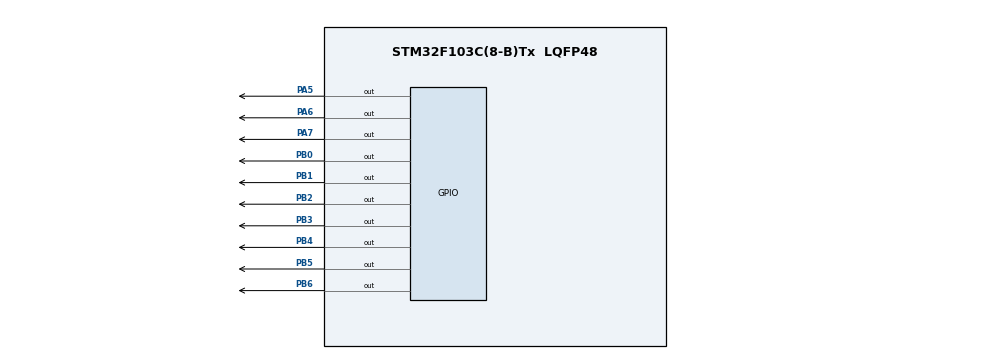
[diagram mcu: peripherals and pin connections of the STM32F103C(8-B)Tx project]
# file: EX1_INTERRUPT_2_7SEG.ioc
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Mcu.Family=STM32F1
Mcu.Name=STM32F103C(8-B)Tx
Mcu.Package=LQFP48
NVIC.PriorityGroup=NVIC_PRIORITYGROUP_4
NVIC.TIM2_IRQn=true\:0\:0\:false\:false\:true\:true\:true\:true
PA13.Mode=Serial_Wire
PA13.Signal=SYS_JTMS-SWDIO
PA14.Mode=Serial_Wire
PA14.Signal=SYS_JTCK-SWCLK
PA5.Signal=GPIO_Output
PA6.Signal=GPIO_Output
PA7.Signal=GPIO_Output
PB0.Signal=GPIO_Output
PB1.Signal=GPIO_Output
PB2.Signal=GPIO_Output
PB3.Signal=GPIO_Output
PB4.Signal=GPIO_Output
PB5.Signal=GPIO_Output
PB6.Signal=GPIO_Output
ProjectManager.HeapSize=0x200
ProjectManager.StackSize=0x400
ProjectManager.TargetToolchain=MDK-ARM V5.32
RCC.APB1Freq_Value=8000000
RCC.APB2Freq_Value=8000000
TIM2.Period=9
TIM2.Prescaler=7999
VP_TIM2_VS_ClockSourceINT.Mode=Internal
board=custom

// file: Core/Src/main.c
/* USER CODE BEGIN Header */
/**
  ******************************************************************************
  * @file           : main.c
  * @brief          : Main program body
  ******************************************************************************
  * @attention
  *
  * Copyright (c) 2026 STMicroelectronics.
  * All rights reserved.
  *
  * This software is licensed under terms that can be found in the LICENSE file
  * in the root directory of this software component.
  * If no LICENSE file comes with this software, it is provided AS-IS.
  *
  ******************************************************************************
  */
/* USER CODE END Header */
#include "main.h"

/* USER CODE BEGIN PD */
#define LED_A GPIO_PIN_0
#define LED_B GPIO_PIN_1
#define LED_C GPIO_PIN_2
#define LED_D GPIO_PIN_3
#define LED_E GPIO_PIN_4
#define LED_F GPIO_PIN_5
#define LED_G GPIO_PIN_6

#define ALL_LEDS (LED_A | LED_B | LED_C | LED_D | \
                  LED_E | LED_F | LED_G)
/* USER CODE END PD */

TIM_HandleTypeDef htim2;

void SystemClock_Config(void);
static void MX_GPIO_Init(void);
static void MX_TIM2_Init(void);

/* USER CODE BEGIN 0 */
void display7SEG(int num)
{
    static const uint16_t digit[10] =
    {
        LED_A | LED_B | LED_C | LED_D | LED_E | LED_F,          // 0
        LED_B | LED_C,                                          // 1
        LED_A | LED_B | LED_D | LED_E | LED_G,                  // 2
        LED_A | LED_B | LED_C | LED_D | LED_G,                  // 3
        LED_B | LED_C | LED_F | LED_G,                          // 4
        LED_A | LED_C | LED_D | LED_F | LED_G,                  // 5
        LED_A | LED_C | LED_D | LED_E | LED_F | LED_G,          // 6
        LED_A | LED_B | LED_C,                                  // 7
        LED_A | LED_B | LED_C | LED_D | LED_E | LED_F | LED_G,  // 8
        LED_A | LED_B | LED_C | LED_D | LED_F | LED_G           // 9
    };

    /* Common anode */
    HAL_GPIO_WritePin(GPIOB, ALL_LEDS, GPIO_PIN_SET);

    if (num >= 0 && num <= 9)
    {
        HAL_GPIO_WritePin(GPIOB, digit[num], GPIO_PIN_RESET);
    }
}

void HAL_TIM_PeriodElapsedCallback(TIM_HandleTypeDef *htim){
	static uint8_t counter = 0;
	static uint8_t led_index = 0;

	if(htim->Instance == TIM2){

		counter++;

		if(counter >= 50){								//50 x 10ms = 500ms = 0.5s
			counter = 0;
			led_index = 1 - led_index;

			HAL_GPIO_WritePin(GPIOA, GPIO_PIN_6 | GPIO_PIN_7, 1);

			if(led_index == 0){
				display7SEG(1);
				HAL_GPIO_WritePin(GPIOA, GPIO_PIN_6, 0);				// base = 0 -> 7seg on

			}else{
				display7SEG(2);
				HAL_GPIO_WritePin(GPIOA, GPIO_PIN_7, 0);

			}
		}
	}
}
/* USER CODE END 0 */

int main(void)
{

  /* MCU Configuration--------------------------------------------------------*/

  /* Reset of all peripherals, Initializes the Flash interface and the Systick. */
  HAL_Init();

  /* Configure the system clock */
  SystemClock_Config();

  /* Initialize all configured peripherals */
  MX_GPIO_Init();
  MX_TIM2_Init();
  /* USER CODE BEGIN 2 */

	HAL_GPIO_WritePin(GPIOA, GPIO_PIN_6 | GPIO_PIN_7, 1);		// tat 2 led

	display7SEG(1);
	HAL_GPIO_WritePin(GPIOA, GPIO_PIN_6, 0);

	HAL_TIM_Base_Start_IT(&htim2);
  /* USER CODE END 2 */

  /* Infinite loop */
  while (1)
  {

  }
}

void SystemClock_Config(void)
{
  RCC_OscInitTypeDef RCC_OscInitStruct = {0};
  RCC_ClkInitTypeDef RCC_ClkInitStruct = {0};

  /** Initializes the RCC Oscillators according to the specified parameters
  * in the RCC_OscInitTypeDef structure.
  */
  RCC_OscInitStruct.OscillatorType = RCC_OSCILLATORTYPE_HSI;
  RCC_OscInitStruct.HSIState = RCC_HSI_ON;
  RCC_OscInitStruct.HSICalibrationValue = RCC_HSICALIBRATION_DEFAULT;
  RCC_OscInitStruct.PLL.PLLState = RCC_PLL_NONE;
  if (HAL_RCC_OscConfig(&RCC_OscInitStruct) != HAL_OK)
  {
    Error_Handler();
  }

  /** Initializes the CPU, AHB and APB buses clocks
  */
  RCC_ClkInitStruct.ClockType = RCC_CLOCKTYPE_HCLK|RCC_CLOCKTYPE_SYSCLK
                              |RCC_CLOCKTYPE_PCLK1|RCC_CLOCKTYPE_PCLK2;
  RCC_ClkInitStruct.SYSCLKSource = RCC_SYSCLKSOURCE_HSI;
  RCC_ClkInitStruct.AHBCLKDivider = RCC_SYSCLK_DIV1;
  RCC_ClkInitStruct.APB1CLKDivider = RCC_HCLK_DIV1;
  RCC_ClkInitStruct.APB2CLKDivider = RCC_HCLK_DIV1;

  if (HAL_RCC_ClockConfig(&RCC_ClkInitStruct, FLASH_LATENCY_0) != HAL_OK)
  {
    Error_Handler();
  }
}

static void MX_TIM2_Init(void)
{

  TIM_ClockConfigTypeDef sClockSourceConfig = {0};
  TIM_MasterConfigTypeDef sMasterConfig = {0};

  htim2.Instance = TIM2;
  htim2.Init.Prescaler = 7999;
  htim2.Init.CounterMode = TIM_COUNTERMODE_UP;
  htim2.Init.Period = 9;
  htim2.Init.ClockDivision = TIM_CLOCKDIVISION_DIV1;
  htim2.Init.AutoReloadPreload = TIM_AUTORELOAD_PRELOAD_DISABLE;
  if (HAL_TIM_Base_Init(&htim2) != HAL_OK)
  {
    Error_Handler();
  }
  sClockSourceConfig.ClockSource = TIM_CLOCKSOURCE_INTERNAL;
  if (HAL_TIM_ConfigClockSource(&htim2, &sClockSourceConfig) != HAL_OK)
  {
    Error_Handler();
  }
  sMasterConfig.MasterOutputTrigger = TIM_TRGO_RESET;
  sMasterConfig.MasterSlaveMode = TIM_MASTERSLAVEMODE_DISABLE;
  if (HAL_TIMEx_MasterConfigSynchronization(&htim2, &sMasterConfig) != HAL_OK)
  {
    Error_Handler();
  }

}

static void MX_GPIO_Init(void)
{
  GPIO_InitTypeDef GPIO_InitStruct = {0};

  /* GPIO Ports Clock Enable */
  __HAL_RCC_GPIOA_CLK_ENABLE();
  __HAL_RCC_GPIOB_CLK_ENABLE();

  /*Configure GPIO pin Output Level */
  HAL_GPIO_WritePin(GPIOA, GPIO_PIN_5|GPIO_PIN_6|GPIO_PIN_7, GPIO_PIN_RESET);

  /*Configure GPIO pin Output Level */
  HAL_GPIO_WritePin(GPIOB, GPIO_PIN_0|GPIO_PIN_1|GPIO_PIN_2|GPIO_PIN_3
                          |GPIO_PIN_4|GPIO_PIN_5|GPIO_PIN_6, GPIO_PIN_RESET);

  /*Configure GPIO pins : PA5 PA6 PA7 */
  GPIO_InitStruct.Pin = GPIO_PIN_5|GPIO_PIN_6|GPIO_PIN_7;
  GPIO_InitStruct.Mode = GPIO_MODE_OUTPUT_PP;
  GPIO_InitStruct.Pull = GPIO_NOPULL;
  GPIO_InitStruct.Speed = GPIO_SPEED_FREQ_LOW;
  HAL_GPIO_Init(GPIOA, &GPIO_InitStruct);

  /*Configure GPIO pins : PB0 PB1 PB2 PB3
                           PB4 PB5 PB6 */
  GPIO_InitStruct.Pin = GPIO_PIN_0|GPIO_PIN_1|GPIO_PIN_2|GPIO_PIN_3
                          |GPIO_PIN_4|GPIO_PIN_5|GPIO_PIN_6;
  GPIO_InitStruct.Mode = GPIO_MODE_OUTPUT_PP;
  GPIO_InitStruct.Pull = GPIO_NOPULL;
  GPIO_InitStruct.Speed = GPIO_SPEED_FREQ_LOW;
  HAL_GPIO_Init(GPIOB, &GPIO_InitStruct);

}

void Error_Handler(void)
{
  __disable_irq();
  while (1)
  {
  }
}
